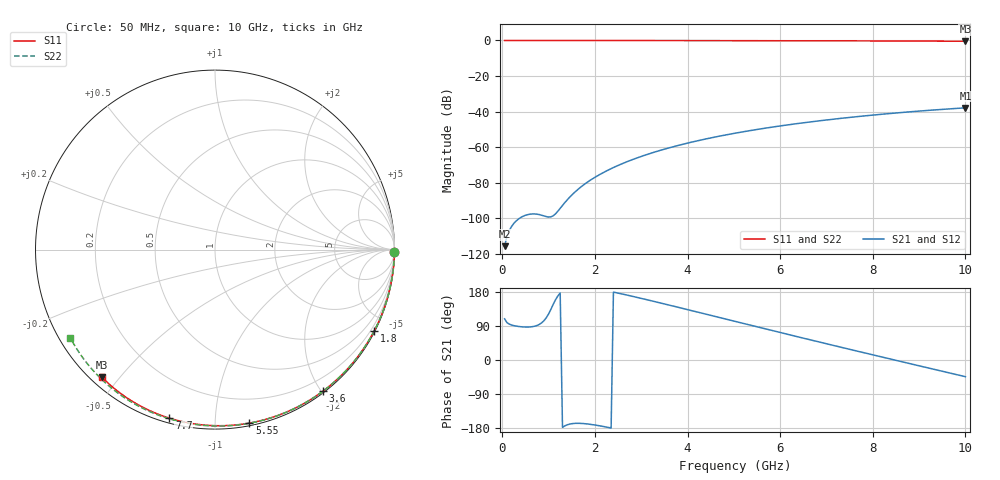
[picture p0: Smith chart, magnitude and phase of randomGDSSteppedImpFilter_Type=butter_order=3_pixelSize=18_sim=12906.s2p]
! freq	dB(S11)	phase(S11)	dB(S12)	phase(S12)
!  dB(S21)	phase(S21)	dB(S22)	phase(S22)
!S-par simulation data
#  GHz  S  DB  R 50
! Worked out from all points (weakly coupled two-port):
!   200 points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, 50 MHz to 10 GHz, reference 50 ohm
!   highest |S21| = -37.95 dB at 10 GHz (marker M1); lowest = -115.8 dB at 50 MHz (marker M2)
!   lowest |S11| = -0.4 dB at 10 GHz (marker M3), VSWR 39.09, Z = 1.54 - j22.5 ohm
!   |S11| at or under -10 dB: nowhere
!   |S22| runs from -0.5 to 0.0 dB; largest |S21 - S12| = 0
!   S11 on the Smith chart (normalised r, x): 50 MHz: open; 1.8 GHz: 0.04, -4.17; 3.6 GHz: 0.02, -2.02; 5.55 GHz: 0.02, -1.22; 7.7 GHz: 0.02, -0.76; 10 GHz: 0.03, -0.45
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0.05  -0.00 -0.8  -115.80 108.6  -115.80 108.6  -0.00 -0.9
0.45  -0.01 -6.8  -98.94 87.2  -98.94 87.2  -0.01 -7.7
0.9  -0.02 -13.6  -98.77 103.8  -98.77 103.8  -0.02 -15.4
1.3  -0.02 -19.6  -92.85 -177.8  -92.85 -177.8  -0.03 -22.1
1.75  -0.03 -26.2  -81.41 -167.7  -81.41 -167.7  -0.04 -29.6
1.8  -0.03 -27.0  -80.45 -168.3  -80.45 -168.3  -0.04 -30.4
1.85  -0.04 -27.7  -79.55 -168.9  -79.55 -168.9  -0.04 -31.2
2.05  -0.04 -30.6  -76.26 -172.5  -76.26 -172.5  -0.04 -34.5
2.2  -0.04 -32.8  -74.11 -175.8  -74.11 -175.8  -0.05 -37.0
2.55  -0.05 -37.9  -69.79 175.3  -69.79 175.3  -0.05 -42.7
2.95  -0.06 -43.6  -65.74 164.1  -65.74 164.1  -0.06 -49.1
3.4  -0.07 -50.0  -61.95 150.9  -61.95 150.9  -0.07 -56.2
3.6  -0.07 -52.7  -60.46 145.0  -60.46 145.0  -0.08 -59.3
4.3  -0.09 -62.3  -55.98 123.9  -55.98 123.9  -0.10 -70.0
5.05  -0.11 -72.3  -52.09 101.2  -52.09 101.2  -0.12 -81.2
5.55  -0.13 -78.8  -49.89 86.1  -49.89 86.1  -0.14 -88.4
6.1  -0.15 -85.7  -47.75 69.6  -47.75 69.6  -0.17 -96.2
6.7  -0.18 -93.2  -45.69 51.7  -45.69 51.7  -0.20 -104.5
7.7  -0.24 -105.2  -42.78 22.3  -42.78 22.3  -0.27 -118.1
8.35  -0.29 -112.8  -41.17 3.5  -41.17 3.5  -0.33 -126.8
9.2  -0.36 -122.5  -39.35 -21.1  -39.35 -21.1  -0.41 -138.1
10  -0.44 -131.5  -37.95 -44.0  -37.95 -44.0  -0.50 -148.7
